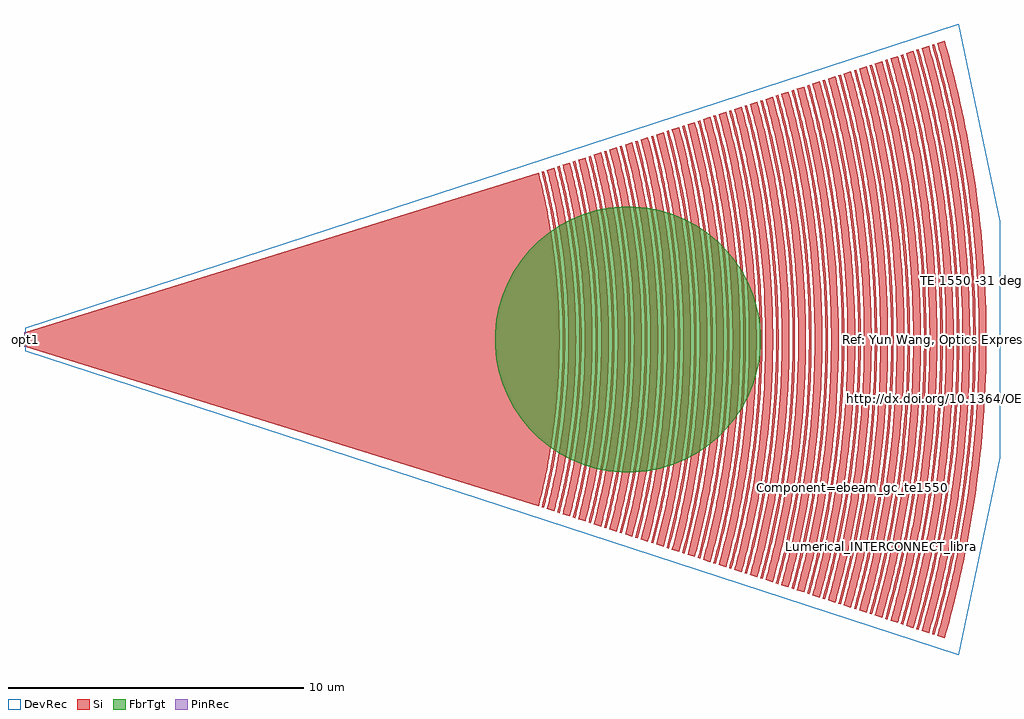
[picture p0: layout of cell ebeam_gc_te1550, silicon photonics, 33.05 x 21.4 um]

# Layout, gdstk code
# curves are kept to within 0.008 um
import gdstk
lib = gdstk.Library(unit=1e-6, precision=1e-09)
def R(c, l, rs):  # rectangles x0, y0, x1, y1
    for r in rs: c.add(gdstk.rectangle(r[:2], r[2:], *l))
def P(c, l, *ps):  # polygons
    for p in ps: c.add(gdstk.Polygon(p, *l))
Si = (1, 0)
PinRec = (1, 10)
DevRec = (68, 0)
FbrTgt = (81, 0)

ebeam_gc_te1550 = lib.new_cell('ebeam_gc_te1550')
R(ebeam_gc_te1550, Si, [(-0.001,-0.001,0.001,0.001)])
P(ebeam_gc_te1550, Si, [(17.584,-5.592),(17.743,-4.914),(17.902,-4.12),(18.016,-3.437),(18.109,-2.752),(18.176,-2.122),(18.233,-1.377),(18.264,-0.689),(18.274,0.114),(18.196,0.114),(18.189,-0.572),(18.165,-1.2),(18.109,-1.999),(18.032,-2.74),(17.922,-3.536),(17.784,-4.329),(17.643,-5.006),(17.481,-5.68),(17.556,-5.704)],
  [(18.274,0.115),(18.256,0.918),(18.222,1.549),(18.165,2.237),(18.095,2.866),(18.016,3.437),(17.881,4.233),(17.743,4.914),(17.556,5.704),(17.481,5.68),(17.643,5.006),(17.784,4.329),(17.922,3.536),(18.018,2.854),(18.104,2.056),(18.148,1.486),(18.186,0.686),(18.196,0.114)],
  [(17.921,-5.761),(18.073,-5.128),(18.207,-4.492),(18.342,-3.738),(18.452,-2.982),(18.537,-2.224),(18.601,-1.405),(18.636,-0.586),(18.643,0.116),(18.383,0.116),(18.373,-0.693),(18.338,-1.443),(18.279,-2.193),(18.188,-2.998),(18.068,-3.801),(17.932,-4.544),(17.81,-5.114),(17.659,-5.738),(17.906,-5.818)],
  [(18.643,0.117),(18.631,0.761),(18.601,1.405),(18.537,2.224),(18.452,2.982),(18.342,3.738),(18.207,4.492),(18.047,5.243),(17.906,5.818),(17.659,5.738),(17.81,5.114),(17.932,4.544),(18.068,3.801),(18.188,2.998),(18.279,2.193),(18.338,1.443),(18.373,0.693),(18.383,0.116)],
  [(18.114,-5.76),(18.266,-5.121),(18.4,-4.479),(18.544,-3.658),(18.644,-2.953),(18.739,-2.069),(18.791,-1.36),(18.823,-0.592),(18.83,0.118),(18.752,0.118),(18.745,-0.589),(18.706,-1.472),(18.651,-2.178),(18.567,-2.941),(18.458,-3.702),(18.324,-4.46),(18.165,-5.215),(18.01,-5.852),(18.084,-5.876)],
  [(18.829,0.177),(18.811,0.946),(18.772,1.656),(18.717,2.305),(18.629,3.071),(18.525,3.776),(18.4,4.479),(18.24,5.237),(18.084,5.876),(18.01,5.852),(18.165,5.215),(18.324,4.46),(18.458,3.702),(18.552,3.058),(18.651,2.178),(18.706,1.472),(18.745,0.589),(18.752,0.118),(18.83,0.118)],
  [(18.45,-5.931),(18.608,-5.279),(18.77,-4.506),(18.906,-3.73),(19.016,-2.951),(19.095,-2.23),(19.159,-1.387),(19.19,-0.663),(19.199,0.119),(18.939,0.119),(18.93,-0.654),(18.896,-1.427),(18.842,-2.14),(18.759,-2.911),(18.651,-3.679),(18.517,-4.445),(18.358,-5.209),(18.188,-5.91),(18.435,-5.99)],
  [(19.199,0.121),(19.182,0.905),(19.135,1.748),(19.071,2.47),(19.001,3.071),(18.906,3.73),(18.77,4.506),(18.608,5.279),(18.435,5.99),(18.188,5.91),(18.358,5.209),(18.517,4.445),(18.651,3.679),(18.744,3.029),(18.831,2.259),(18.896,1.427),(18.93,0.654),(18.939,0.119)],
  [(18.629,-5.988),(18.815,-5.211),(18.963,-4.49),(19.099,-3.705),(19.201,-2.979),(19.286,-2.191),(19.349,-1.339),(19.377,-0.67),(19.386,0.121),(19.308,0.121),(19.299,-0.667),(19.264,-1.455),(19.203,-2.242),(19.131,-2.907),(19.013,-3.751),(18.876,-4.532),(18.713,-5.309),(18.539,-6.024),(18.613,-6.048)],
  [(19.386,0.122),(19.369,0.913),(19.338,1.522),(19.269,2.373),(19.201,2.979),(19.099,3.705),(18.963,4.49),(18.815,5.211),(18.613,6.048),(18.539,6.024),(18.713,5.309),(18.876,4.532),(19.013,3.751),(19.116,3.028),(19.203,2.242),(19.264,1.455),(19.291,0.91),(19.308,0.121)],
  [(18.98,-6.101),(19.184,-5.248),(19.334,-4.513),(19.461,-3.776),(19.573,-2.974),(19.653,-2.232),(19.717,-1.365),(19.749,-0.559),(19.755,0.122),(19.495,0.122),(19.486,-0.674),(19.454,-1.408),(19.389,-2.264),(19.301,-3.057),(19.206,-3.726),(19.046,-4.636),(18.879,-5.421),(18.717,-6.081),(18.964,-6.162)],
  [(19.755,0.124),(19.735,0.993),(19.689,1.799),(19.629,2.48),(19.533,3.283),(19.411,4.083),(19.262,4.881),(19.129,5.492),(18.964,6.162),(18.717,6.081),(18.879,5.421),(19.046,4.636),(19.206,3.726),(19.301,3.057),(19.371,2.447),(19.43,1.775),(19.48,0.857),(19.495,0.122)],
  [(19.158,-6.158),(19.337,-5.421),(19.516,-4.556),(19.635,-3.874),(19.758,-3.002),(19.833,-2.316),(19.9,-1.44),(19.934,-0.626),(19.942,0.125),(19.864,0.125),(19.853,-0.749),(19.822,-1.435),(19.761,-2.244),(19.681,-2.99),(19.568,-3.797),(19.44,-4.538),(19.289,-5.277),(19.068,-6.195),(19.142,-6.22)],
  [(19.941,0.188),(19.924,0.94),(19.884,1.691),(19.808,2.566),(19.726,3.251),(19.625,3.936),(19.48,4.742),(19.337,5.421),(19.142,6.22),(19.068,6.195),(19.205,5.645),(19.392,4.785),(19.528,4.044),(19.649,3.239),(19.737,2.493),(19.802,1.746),(19.844,0.998),(19.864,0.125),(19.942,0.125)],
  [(19.509,-6.271),(19.678,-5.583),(19.839,-4.829),(19.997,-3.945),(20.123,-3.058),(20.211,-2.231),(20.268,-1.467),(20.303,-0.638),(20.311,0.126),(20.051,0.126),(20.043,-0.63),(20.005,-1.511),(19.947,-2.266),(19.866,-3.019),(19.742,-3.895),(19.622,-4.581),(19.483,-5.264),(19.246,-6.253),(19.493,-6.334)],
  [(20.311,0.128),(20.293,0.957),(20.256,1.658),(20.187,2.486),(20.107,3.185),(19.997,3.945),(19.839,4.829),(19.678,5.583),(19.493,6.334),(19.246,6.253),(19.399,5.636),(19.574,4.829),(19.742,3.895),(19.842,3.207),(19.929,2.454),(19.997,1.637),(20.033,0.945),(20.051,0.126)],
  [(19.703,-6.265),(19.942,-5.254),(20.093,-4.491),(20.22,-3.726),(20.323,-2.958),(20.397,-2.252),(20.458,-1.416),(20.49,-0.644),(20.498,0.128),(20.42,0.128),(20.412,-0.641),(20.384,-1.347),(20.325,-2.179),(20.246,-2.946),(20.153,-3.648),(20.005,-4.538),(19.797,-5.55),(19.597,-6.367),(19.671,-6.391)],
  [(20.498,0.129),(20.482,0.901),(20.438,1.738),(20.379,2.444),(20.283,3.278),(20.149,4.173),(20.008,4.937),(19.843,5.697),(19.671,6.391),(19.597,6.367),(19.797,5.55),(19.957,4.791),(20.104,3.966),(20.206,3.265),(20.295,2.499),(20.369,1.603),(20.404,0.898),(20.42,0.128)],
  [(20.038,-6.441),(20.242,-5.606),(20.392,-4.896),(20.532,-4.118),(20.656,-3.272),(20.745,-2.488),(20.81,-1.704),(20.853,-0.852),(20.867,0.129),(20.607,0.129),(20.599,-0.647),(20.567,-1.424),(20.511,-2.199),(20.399,-3.231),(20.277,-4.066),(20.139,-4.835),(19.948,-5.727),(19.774,-6.425),(20.022,-6.505)],
  [(20.867,0.131),(20.853,0.852),(20.81,1.704),(20.745,2.488),(20.656,3.272),(20.532,4.118),(20.392,4.896),(20.242,5.606),(20.022,6.505),(19.774,6.425),(19.948,5.727),(20.139,4.835),(20.277,4.066),(20.382,3.36),(20.474,2.586),(20.542,1.812),(20.586,1.036),(20.607,0.129)],
  [(20.216,-6.499),(20.437,-5.591),(20.599,-4.809),(20.726,-4.089),(20.849,-3.235),(20.931,-2.511),(21.001,-1.653),(21.044,-0.728),(21.054,0.132),(20.976,0.132),(20.966,-0.725),(20.923,-1.647),(20.86,-2.436),(20.772,-3.223),(20.649,-4.074),(20.498,-4.921),(20.347,-5.635),(20.125,-6.539),(20.199,-6.563)],
  [(21.053,0.198),(21.035,0.992),(20.992,1.785),(20.931,2.511),(20.832,3.367),(20.726,4.089),(20.599,4.809),(20.437,5.591),(20.199,6.563),(20.125,6.539),(20.347,5.635),(20.498,4.921),(20.628,4.204),(20.755,3.354),(20.86,2.436),(20.923,1.647),(20.962,0.857),(20.976,0.132),(21.054,0.132)],
  [(20.568,-6.612),(20.793,-5.688),(20.971,-4.826),(21.109,-4.027),(21.222,-3.225),(21.304,-2.488),(21.373,-1.615),(21.416,-0.606),(21.423,0.133),(21.163,0.133),(21.151,-0.798),(21.105,-1.728),(21.052,-2.391),(20.957,-3.252),(20.822,-4.176),(20.705,-4.833),(20.542,-5.62),(20.303,-6.597),(20.55,-6.677)],
  [(21.423,0.135),(21.401,1.077),(21.355,1.883),(21.304,2.488),(21.205,3.359),(21.066,4.293),(20.906,5.158),(20.732,5.953),(20.55,6.677),(20.303,6.597),(20.542,5.62),(20.705,4.833),(20.822,4.176),(20.957,3.252),(21.052,2.391),(21.105,1.728),(21.144,0.997),(21.163,0.133)],
  [(20.746,-6.669),(20.943,-5.871),(21.101,-5.136),(21.249,-4.331),(21.39,-3.388),(21.483,-2.577),(21.555,-1.696),(21.593,-0.95),(21.61,0.135),(21.532,0.135),(21.525,-0.609),(21.486,-1.555),(21.412,-2.5),(21.33,-3.241),(21.195,-4.181),(21.025,-5.118),(20.868,-5.85),(20.654,-6.711),(20.728,-6.735)],
  [(21.61,0.136),(21.593,0.95),(21.546,1.832),(21.483,2.577),(21.372,3.523),(21.249,4.331),(21.101,5.136),(20.912,6.004),(20.728,6.735),(20.654,6.711),(20.868,5.85),(21.025,5.118),(21.184,4.248),(21.304,3.443),(21.392,2.702),(21.473,1.758),(21.515,0.947),(21.532,0.135)],
  [(21.079,-6.849),(21.25,-6.174),(21.432,-5.359),(21.599,-4.473),(21.736,-3.583),(21.856,-2.552),(21.923,-1.725),(21.964,-0.898),(21.979,-0.138),(21.964,0.898),(21.923,1.725),(21.856,2.552),(21.772,3.308),(21.622,4.336),(21.473,5.155),(21.298,5.971),(21.079,6.849),(20.832,6.769),(21.048,5.9),(21.207,5.162),(21.356,4.353),(21.47,3.608),(21.598,2.522),(21.664,1.705),(21.702,0.955),(21.719,0.136),(21.702,-0.955),(21.664,-1.705),(21.598,-2.522),(21.515,-3.269),(21.356,-4.353),(21.207,-5.162),(21.048,-5.9),(20.832,-6.769)],
  [(21.311,-6.703),(21.525,-5.816),(21.682,-5.061),(21.817,-4.304),(21.957,-3.336),(22.042,-2.574),(22.114,-1.67),(22.159,-0.627),(22.166,0.139),(22.088,0.139),(22.073,-0.902),(22.036,-1.665),(21.971,-2.495),(21.871,-3.394),(21.729,-4.358),(21.579,-5.181),(21.419,-5.932),(21.183,-6.883),(21.257,-6.907)],
  [(22.165,0.209),(22.146,1.044),(22.105,1.81),(22.042,2.574),(21.93,3.544),(21.817,4.304),(21.655,5.199),(21.494,5.953),(21.257,6.907),(21.183,6.883),(21.419,5.932),(21.579,5.181),(21.729,4.358),(21.853,3.532),(21.971,2.495),(22.027,1.803),(22.068,1.041),(22.088,0.139),(22.166,0.139)],
  [(21.626,-6.952),(21.865,-5.982),(22.041,-5.145),(22.179,-4.375),(22.294,-3.603),(22.415,-2.546),(22.482,-1.698),(22.522,-0.849),(22.535,0.14),(22.275,0.14),(22.268,-0.63),(22.227,-1.609),(22.163,-2.447),(22.073,-3.283),(21.957,-4.117),(21.788,-5.086),(21.599,-5.982),(21.361,-6.941),(21.608,-7.021)],
  [(22.535,0.142),(22.522,0.849),(22.482,1.698),(22.415,2.546),(22.294,3.603),(22.179,4.375),(21.985,5.425),(21.801,6.259),(21.608,7.021),(21.361,6.941),(21.599,5.982),(21.761,5.224),(21.889,4.533),(22.028,3.631),(22.129,2.795),(22.218,1.749),(22.26,0.91),(22.275,0.14)],
  [(21.804,-7.009),(22.03,-6.101),(22.195,-5.329),(22.374,-4.341),(22.488,-3.562),(22.58,-2.78),(22.659,-1.855),(22.711,-0.785),(22.722,0.142),(22.644,0.142),(22.631,-0.854),(22.586,-1.778),(22.495,-2.842),(22.411,-3.55),(22.274,-4.467),(22.105,-5.381),(21.922,-6.22),(21.712,-7.055),(21.786,-7.079)],
  [(22.722,0.143),(22.704,0.999),(22.649,1.997),(22.565,2.923),(22.469,3.704),(22.302,4.765),(22.167,5.469),(21.964,6.381),(21.786,7.079),(21.712,7.055),(21.889,6.359),(22.077,5.521),(22.238,4.678),(22.392,3.691),(22.495,2.842),(22.566,2.062),(22.626,0.996),(22.644,0.142)],
  [(22.175,-7.051),(22.418,-6.057),(22.61,-5.129),(22.759,-4.267),(22.862,-3.547),(22.981,-2.464),(23.045,-1.595),(23.085,-0.58),(23.091,0.143),(22.831,0.143),(22.82,-0.789),(22.777,-1.721),(22.716,-2.508),(22.596,-3.579),(22.481,-4.362),(22.287,-5.425),(22.102,-6.271),(21.89,-7.112),(22.137,-7.193)],
  [(23.091,0.145),(23.067,1.16),(23.011,2.102),(22.946,2.826),(22.843,3.692),(22.7,4.627),(22.54,5.486),(22.369,6.271),(22.137,7.193),(21.89,7.112),(22.102,6.271),(22.287,5.425),(22.481,4.362),(22.596,3.579),(22.716,2.508),(22.777,1.721),(22.82,0.789),(22.831,0.143)],
  [(22.372,-7.037),(22.582,-6.178),(22.736,-5.458),(22.895,-4.592),(23.047,-3.576),(23.139,-2.776),(23.218,-1.827),(23.262,-0.951),(23.278,0.146),(23.2,0.146),(23.184,-0.947),(23.145,-1.748),(23.076,-2.621),(22.979,-3.492),(22.843,-4.432),(22.646,-5.512),(22.457,-6.372),(22.24,-7.226),(22.315,-7.25)],
  [(23.276,0.293),(23.247,1.316),(23.197,2.119),(23.1,3.14),(22.997,3.939),(22.871,4.736),(22.707,5.603),(22.515,6.465),(22.315,7.25),(22.24,7.226),(22.457,6.372),(22.646,5.512),(22.807,4.648),(22.96,3.637),(23.069,2.694),(23.125,2.039),(23.184,0.947),(23.2,0.146),(23.278,0.146)],
  [(22.704,-7.22),(22.938,-6.275),(23.124,-5.398),(23.282,-4.517),(23.421,-3.559),(23.513,-2.745),(23.586,-1.856),(23.633,-0.891),(23.647,0.147),(23.387,0.147),(23.371,-0.955),(23.336,-1.689),(23.24,-2.862),(23.145,-3.666),(22.99,-4.686),(22.842,-5.484),(22.654,-6.351),(22.418,-7.284),(22.666,-7.364)],
  [(23.647,0.149),(23.628,1.04),(23.581,1.93),(23.498,2.893),(23.392,3.78),(23.27,4.591),(23.095,5.545),(22.887,6.494),(22.666,7.364),(22.418,7.284),(22.654,6.351),(22.842,5.484),(22.978,4.758),(23.145,3.666),(23.24,2.862),(23.311,2.056),(23.371,0.955),(23.387,0.147)],
  [(22.883,-7.276),(23.135,-6.251),(23.306,-5.441),(23.441,-4.701),(23.606,-3.587),(23.713,-2.618),(23.782,-1.721),(23.82,-0.898),(23.834,0.149),(23.756,0.149),(23.742,-0.895),(23.704,-1.716),(23.642,-2.535),(23.538,-3.501),(23.389,-4.538),(23.201,-5.57),(22.992,-6.523),(22.769,-7.398),(22.843,-7.422)],
  [(23.834,0.15),(23.815,1.048),(23.762,2.02),(23.691,2.842),(23.556,3.959),(23.441,4.701),(23.262,5.662),(23.067,6.545),(22.843,7.422),(22.769,7.398),(22.957,6.67),(23.171,5.717),(23.352,4.759),(23.479,3.946),(23.582,3.13),(23.679,2.088),(23.737,1.045),(23.756,0.149)],
  [(23.254,-7.314),(23.474,-6.422),(23.68,-5.45),(23.84,-4.548),(23.961,-3.718),(24.065,-2.81),(24.15,-1.748),(24.191,-0.836),(24.203,0.15),(23.943,0.15),(23.929,-0.903),(23.886,-1.804),(23.807,-2.78),(23.704,-3.678),(23.56,-4.648),(23.383,-5.614),(23.172,-6.574),(22.947,-7.456),(23.194,-7.536)],
  [(24.203,0.152),(24.186,0.988),(24.135,1.976),(24.065,2.81),(23.951,3.793),(23.79,4.849),(23.605,5.824),(23.404,6.72),(23.194,7.536),(22.947,7.456),(23.172,6.574),(23.368,5.688),(23.535,4.797),(23.684,3.827),(23.807,2.78),(23.876,1.955),(23.921,1.128),(23.943,0.15)],
  [(23.392,-7.519),(23.672,-6.396),(23.877,-5.416),(24.011,-4.659),(24.165,-3.594),(24.258,-2.755),(24.341,-1.685),(24.378,-0.843),(24.39,0.153),(24.312,0.153),(24.3,-0.84),(24.263,-1.68),(24.195,-2.594),(24.088,-3.583),(23.971,-4.417),(23.801,-5.399),(23.562,-6.525),(23.298,-7.57),(23.372,-7.594)],
  [(24.385,0.536),(24.361,1.302),(24.286,2.45),(24.202,3.289),(24.115,3.975),(23.96,4.962),(23.802,5.793),(23.602,6.696),(23.372,7.594),(23.298,7.57),(23.491,6.825),(23.711,5.85),(23.87,5.022),(24.038,3.962),(24.158,2.975),(24.238,2.061),(24.295,0.993),(24.312,0.153),(24.39,0.153)],
  [(23.744,-7.632),(23.993,-6.645),(24.207,-5.651),(24.348,-4.883),(24.5,-3.88),(24.625,-2.797),(24.709,-1.71),(24.749,-0.778),(24.759,0.154),(24.499,0.154),(24.487,-0.847),(24.43,-2),(24.359,-2.844),(24.233,-3.916),(24.093,-4.832),(23.908,-5.819),(23.724,-6.651),(23.476,-7.628),(23.723,-7.708)],
  [(24.759,0.156),(24.736,1.167),(24.678,2.176),(24.585,3.184),(24.479,4.035),(24.348,4.883),(24.145,5.957),(23.957,6.797),(23.723,7.708),(23.476,7.628),(23.724,6.651),(23.908,5.819),(24.093,4.832),(24.233,3.916),(24.359,2.844),(24.43,2),(24.482,1),(24.499,0.154)],
  [(23.922,-7.69),(24.137,-6.848),(24.358,-5.848),(24.531,-4.92),(24.695,-3.832),(24.803,-2.896),(24.891,-1.802),(24.931,-0.94),(24.946,0.156),(24.868,0.156),(24.858,-0.781),(24.818,-1.718),(24.733,-2.809),(24.618,-3.82),(24.48,-4.75),(24.282,-5.83),(24.08,-6.75),(23.827,-7.742),(23.901,-7.766)],
  [(24.946,0.157),(24.916,1.332),(24.87,2.115),(24.779,3.13),(24.674,3.987),(24.518,4.997),(24.358,5.848),(24.137,6.848),(23.901,7.766),(23.827,7.742),(24.08,6.75),(24.282,5.83),(24.428,5.059),(24.597,3.975),(24.693,3.198),(24.792,2.108),(24.845,1.172),(24.868,0.156)],
  [(24.273,-7.803),(24.547,-6.715),(24.764,-5.699),(24.945,-4.677),(25.07,-3.809),(25.185,-2.78),(25.259,-1.828),(25.3,-0.954),(25.315,0.157),(25.055,0.157),(25.05,-0.551),(25.009,-1.652),(24.919,-2.83),(24.803,-3.848),(24.638,-4.941),(24.464,-5.873),(24.26,-6.801),(24.005,-7.8),(24.252,-7.88)],
  [(25.315,0.159),(25.288,1.272),(25.232,2.225),(25.145,3.177),(25.049,3.967),(24.893,4.992),(24.717,5.934),(24.473,7.027),(24.252,7.88),(24.005,7.8),(24.26,6.801),(24.464,5.873),(24.638,4.941),(24.782,4.005),(24.887,3.144),(24.973,2.202),(25.025,1.338),(25.055,0.157)],
  [(24.514,-7.626),(24.727,-6.765),(24.946,-5.741),(25.116,-4.791),(25.255,-3.837),(25.378,-2.721),(25.455,-1.682),(25.489,-0.881),(25.502,0.16),(25.424,0.16),(25.409,-0.958),(25.377,-1.677),(25.293,-2.792),(25.178,-3.826),(25,-5.014),(24.839,-5.881),(24.634,-6.822),(24.356,-7.914),(24.43,-7.938)],
  [(25.497,0.561),(25.471,1.362),(25.412,2.322),(25.322,3.28),(25.212,4.156),(25.049,5.187),(24.866,6.135),(24.709,6.843),(24.43,7.938),(24.356,7.914),(24.596,6.979),(24.774,6.195),(25,5.014),(25.124,4.222),(25.253,3.19),(25.352,2.075),(25.397,1.278),(25.424,0.16),(25.502,0.16)],
  [(24.802,-7.973),(25.083,-6.862),(25.274,-5.984),(25.465,-4.941),(25.609,-3.974),(25.722,-3.003),(25.803,-2.031),(25.853,-1.056),(25.871,0.161),(25.611,0.161),(25.598,-0.885),(25.544,-2.01),(25.479,-2.813),(25.352,-3.934),(25.21,-4.891),(25.021,-5.924),(24.814,-6.872),(24.533,-7.971),(24.781,-8.052)],
  [(25.871,0.163),(25.853,1.056),(25.803,2.031),(25.722,3.003),(25.576,4.216),(25.424,5.182),(25.241,6.144),(24.988,7.26),(24.781,8.052),(24.533,7.971),(24.738,7.187),(24.972,6.161),(25.127,5.368),(25.308,4.253),(25.447,3.133),(25.544,2.01),(25.593,1.046),(25.611,0.161)],
  [(24.98,-8.03),(25.245,-6.991),(25.472,-5.946),(25.662,-4.895),(25.794,-4.002),(25.891,-3.188),(25.995,-1.964),(26.045,-0.9),(26.058,0.163),(25.98,0.163),(25.967,-0.898),(25.917,-1.958),(25.822,-3.097),(25.717,-3.99),(25.545,-5.123),(25.38,-6.009),(25.15,-7.051),(24.884,-8.085),(24.959,-8.11)],
  [(26.058,0.164),(26.03,1.31),(25.984,2.127),(25.891,3.188),(25.772,4.165),(25.635,5.057),(25.423,6.188),(25.187,7.232),(24.959,8.11),(24.884,8.085),(25.15,7.051),(25.38,6.009),(25.545,5.123),(25.695,4.152),(25.822,3.097),(25.906,2.121),(25.952,1.306),(25.98,0.163)],
  [(25.354,-8.062),(25.581,-7.171),(25.815,-6.112),(26.011,-5.047),(26.18,-3.894),(26.298,-2.82),(26.368,-1.909),(26.416,-0.83),(26.427,0.164),(26.167,0.164),(26.154,-0.904),(26.123,-1.644),(26.054,-2.628),(25.923,-3.856),(25.769,-4.916),(25.562,-6.052),(25.35,-7.021),(25.062,-8.143),(25.31,-8.224)],
  [(26.427,0.166),(26.402,1.245),(26.357,2.074),(26.274,3.068),(26.136,4.224),(26.011,5.047),(25.815,6.112),(25.581,7.171),(25.31,8.224),(25.062,8.143),(25.292,7.262),(25.512,6.295),(25.7,5.322),(25.868,4.264),(26.016,3.038),(26.098,2.054),(26.139,1.315),(26.167,0.164)],
  [(25.51,-8.2),(25.761,-7.222),(25.997,-6.155),(26.208,-4.999),(26.365,-3.921),(26.484,-2.84),(26.549,-2.006),(26.603,-0.836),(26.614,0.167),(26.536,0.167),(26.525,-0.834),(26.482,-1.833),(26.406,-2.831),(26.288,-3.91),(26.118,-5.067),(25.921,-6.137),(25.686,-7.201),(25.413,-8.257),(25.487,-8.281)],
  [(26.61,0.502),(26.589,1.254),(26.532,2.256),(26.451,3.173),(26.321,4.254),(26.152,5.33),(25.946,6.402),(25.761,7.222),(25.487,8.281),(25.413,8.257),(25.686,7.201),(25.921,6.137),(26.076,5.315),(26.244,4.241),(26.374,3.164),(26.466,2.083),(26.511,1.25),(26.536,0.167),(26.614,0.167)],
  [(25.884,-8.231),(26.156,-7.155),(26.356,-6.24),(26.557,-5.152),(26.73,-3.976),(26.843,-2.963),(26.917,-2.033),(26.964,-1.102),(26.983,0.168),(26.723,0.168),(26.707,-1.007),(26.658,-2.014),(26.568,-3.102),(26.44,-4.188),(26.259,-5.352),(26.086,-6.263),(25.866,-7.251),(25.591,-8.315),(25.838,-8.395)],
  [(26.983,0.17),(26.954,1.356),(26.887,2.456),(26.8,3.386),(26.685,4.312),(26.514,5.404),(26.339,6.323),(26.076,7.487),(25.838,8.395),(25.591,8.315),(25.866,7.251),(26.086,6.263),(26.259,5.352),(26.44,4.188),(26.568,3.102),(26.658,2.014),(26.707,1.007),(26.723,0.168)],
  [(26.062,-8.287),(26.336,-7.205),(26.555,-6.199),(26.726,-5.272),(26.893,-4.173),(27.012,-3.154),(27.098,-2.133),(27.156,-0.939),(27.17,0.085),(27.092,0.085),(27.078,-0.936),(27.026,-2.042),(26.943,-3.06),(26.827,-4.076),(26.664,-5.173),(26.445,-6.349),(26.181,-7.517),(25.942,-8.429),(26.016,-8.453)],
  [(27.169,0.171),(27.144,1.28),(27.086,2.303),(26.976,3.494),(26.858,4.427),(26.697,5.441),(26.503,6.451),(26.256,7.539),(26.016,8.453),(25.942,8.429),(26.181,7.517),(26.445,6.349),(26.606,5.51),(26.781,4.414),(26.908,3.399),(27.002,2.381),(27.066,1.276),(27.092,0.085),(27.17,0.085)],
  [(26.459,-8.231),(26.712,-7.217),(26.931,-6.198),(27.117,-5.173),(27.269,-4.143),(27.387,-3.111),(27.466,-2.162),(27.525,-0.952),(27.539,0.086),(27.279,0.086),(27.265,-0.943),(27.218,-1.97),(27.137,-2.996),(26.989,-4.275),(26.833,-5.294),(26.644,-6.308),(26.381,-7.485),(26.12,-8.487),(26.367,-8.567)],
  [(27.539,0.087),(27.513,1.297),(27.466,2.162),(27.387,3.111),(27.246,4.315),(27.088,5.344),(26.897,6.368),(26.652,7.471),(26.367,8.567),(26.12,8.487),(26.381,7.485),(26.644,6.308),(26.833,5.294),(26.989,4.275),(27.137,2.996),(27.218,1.97),(27.265,0.943),(27.279,0.086)],
  [(26.568,-8.54),(26.832,-7.522),(27.079,-6.411),(27.286,-5.294),(27.442,-4.258),(27.573,-3.132),(27.658,-2.089),(27.712,-0.958),(27.726,0.087),(27.648,0.087),(27.634,-0.955),(27.586,-1.997),(27.487,-3.209),(27.365,-4.246),(27.195,-5.365),(27.003,-6.393),(26.777,-7.416),(26.471,-8.601),(26.545,-8.625)],
  [(27.725,0.174),(27.703,1.219),(27.64,2.35),(27.537,3.479),(27.394,4.604),(27.242,5.552),(27.007,6.754),(26.832,7.522),(26.545,8.625),(26.471,8.601),(26.736,7.586),(26.931,6.735),(27.135,5.708),(27.317,4.591),(27.469,3.382),(27.562,2.344),(27.625,1.216),(27.648,0.087),(27.726,0.087)],
  [(26.92,-8.653),(27.208,-7.535),(27.438,-6.496),(27.663,-5.277),(27.807,-4.315),(27.948,-3.085),(28.026,-2.117),(28.078,-1.059),(28.095,0.087),(27.835,0.087),(27.821,-0.962),(27.761,-2.185),(27.681,-3.144),(27.55,-4.275),(27.393,-5.315),(27.185,-6.436),(26.937,-7.551),(26.649,-8.659),(26.896,-8.739)],
  [(28.095,0.088),(28.075,1.147),(28.014,2.293),(27.903,3.525),(27.783,4.49),(27.588,5.713),(27.402,6.67),(27.145,7.794),(26.896,8.739),(26.649,8.659),(26.937,7.551),(27.185,6.436),(27.393,5.315),(27.55,4.275),(27.681,3.144),(27.761,2.185),(27.812,1.224),(27.835,0.087)],
  [(27.098,-8.711),(27.388,-7.585),(27.62,-6.539),(27.832,-5.4),(28.015,-4.167),(28.134,-3.106),(28.218,-2.042),(28.265,-1.066),(28.282,0.089),(28.204,0.089),(28.187,-1.063),(28.129,-2.214),(28.048,-3.186),(27.926,-4.243),(27.77,-5.297),(27.544,-6.521),(27.292,-7.651),(27,-8.773),(27.074,-8.797)],
  [(28.281,0.178),(28.255,1.332),(28.194,2.397),(28.098,3.46),(27.955,4.608),(27.802,5.576),(27.602,6.627),(27.346,7.759),(27.074,8.797),(27,8.773),(27.271,7.737),(27.508,6.695),(27.71,5.648),(27.878,4.595),(28.03,3.362),(28.129,2.214),(28.184,1.152),(28.204,0.089),(28.282,0.089)],
  [(27.449,-8.823),(27.701,-7.859),(27.979,-6.624),(28.164,-5.648),(28.344,-4.489),(28.474,-3.415),(28.568,-2.339),(28.627,-1.26),(28.651,0.089),(28.391,0.089),(28.364,-1.338),(28.309,-2.317),(28.206,-3.473),(28.075,-4.537),(27.909,-5.597),(27.708,-6.652),(27.451,-7.788),(27.177,-8.83),(27.425,-8.911)],
  [(28.651,0.09),(28.627,1.26),(28.568,2.339),(28.474,3.415),(28.344,4.489),(28.164,5.648),(27.979,6.624),(27.701,7.859),(27.425,8.911),(27.177,8.83),(27.451,7.788),(27.708,6.652),(27.909,5.597),(28.075,4.537),(28.206,3.473),(28.309,2.317),(28.364,1.338),(28.391,0.089)],
  [(27.723,-8.529),(27.966,-7.556),(28.197,-6.489),(28.393,-5.416),(28.565,-4.249),(28.678,-3.257),(28.767,-2.173),(28.826,-0.906),(28.838,0.09),(28.76,0.09),(28.748,-0.903),(28.695,-2.077),(28.609,-3.158),(28.476,-4.327),(28.316,-5.402),(28.085,-6.649),(27.806,-7.889),(27.528,-8.944),(27.603,-8.969)],
  [(28.838,0.091),(28.814,1.268),(28.761,2.264),(28.678,3.257),(28.529,4.518),(28.347,5.685),(28.124,6.845),(27.881,7.91),(27.603,8.969),(27.528,8.944),(27.806,7.889),(28.048,6.827),(28.255,5.759),(28.452,4.506),(28.582,3.428),(28.677,2.348),(28.736,1.265),(28.76,0.09)],
  [(28.003,-8.905),(28.258,-7.922),(28.52,-6.752),(28.74,-5.576),(28.918,-4.394),(29.026,-3.482),(29.135,-2.201),(29.192,-1.009),(29.207,0.091),(28.947,0.091),(28.935,-0.909),(28.887,-2),(28.795,-3.179),(28.649,-4.445),(28.485,-5.527),(28.23,-6.871),(27.986,-7.94),(27.706,-9.002),(27.953,-9.083)],
  [(29.207,0.092),(29.186,1.193),(29.135,2.201),(29.026,3.482),(28.893,4.576),(28.709,5.757),(28.52,6.752),(28.258,7.922),(27.953,9.083),(27.706,9.002),(27.986,7.94),(28.23,6.871),(28.454,5.706),(28.624,4.626),(28.758,3.541),(28.863,2.363),(28.923,1.273),(28.947,0.091)],
  [(28.156,-9.051),(28.438,-7.972),(28.702,-6.795),(28.908,-5.703),(29.078,-4.605),(29.221,-3.412),(29.315,-2.307),(29.373,-1.2),(29.394,0.092),(29.316,0.092),(29.295,-1.197),(29.231,-2.393),(29.134,-3.495),(29.001,-4.593),(28.816,-5.779),(28.626,-6.777),(28.363,-7.951),(28.057,-9.116),(28.131,-9.14)],
  [(29.393,0.185),(29.373,1.2),(29.302,2.491),(29.202,3.596),(29.078,4.605),(28.86,5.977),(28.645,7.068),(28.416,8.062),(28.131,9.14),(28.057,9.116),(28.363,7.951),(28.626,6.777),(28.816,5.779),(29.001,4.593),(29.134,3.495),(29.231,2.393),(29.295,1.197),(29.316,0.092),(29.394,0.092)],
  [(28.508,-9.164),(28.793,-8.072),(29.08,-6.788),(29.286,-5.682),(29.455,-4.57),(29.597,-3.362),(29.683,-2.336),(29.738,-1.309),(29.763,0.093),(29.503,0.093),(29.485,-1.112),(29.424,-2.316),(29.31,-3.609),(29.173,-4.714),(28.983,-5.907),(28.77,-7.003),(28.543,-8.001),(28.235,-9.174),(28.482,-9.254)],
  [(29.763,0.094),(29.738,1.309),(29.683,2.336),(29.578,3.548),(29.416,4.849),(29.238,5.959),(29.003,7.156),(28.771,8.163),(28.482,9.254),(28.235,9.174),(28.543,8.001),(28.77,7.003),(28.983,5.907),(29.173,4.714),(29.31,3.609),(29.424,2.316),(29.485,1.112),(29.503,0.093)],
  [(28.686,-9.221),(28.973,-8.122),(29.224,-7.016),(29.437,-5.904),(29.64,-4.599),(29.792,-3.289),(29.882,-2.163),(29.937,-0.941),(29.95,0.094),(29.872,0.094),(29.862,-0.845),(29.798,-2.251),(29.696,-3.467),(29.563,-4.587),(29.393,-5.703),(29.148,-6.998),(28.898,-8.101),(28.586,-9.288),(28.66,-9.312)],
  [(29.949,0.188),(29.925,1.317),(29.863,2.445),(29.733,3.851),(29.601,4.879),(29.421,5.996),(29.224,7.016),(28.928,8.306),(28.66,9.312),(28.586,9.288),(28.853,8.284),(29.109,7.182),(29.328,6.073),(29.524,4.866),(29.666,3.748),(29.785,2.438),(29.847,1.314),(29.872,0.094),(29.95,0.094)],
  [(29.063,-9.242),(29.351,-8.129),(29.621,-6.915),(29.863,-5.599),(30.017,-4.561),(30.149,-3.424),(30.25,-2.19),(30.306,-0.952),(30.319,0.094),(30.059,0.094),(30.034,-1.322),(29.978,-2.359),(29.872,-3.583),(29.735,-4.709),(29.528,-6.018),(29.33,-7.041),(29.078,-8.152),(28.764,-9.346),(29.011,-9.426)],
  [(30.319,0.095),(30.297,1.238),(30.237,2.38),(30.12,3.709),(29.965,4.939),(29.799,5.976),(29.563,7.196),(29.259,8.501),(29.011,9.426),(28.764,9.346),(29.078,8.152),(29.33,7.041),(29.528,6.018),(29.735,4.709),(29.872,3.583),(29.978,2.359),(30.034,1.322),(30.059,0.094)],
  [(29.267,-9.205),(29.554,-8.085),(29.784,-7.052),(29.999,-5.918),(30.202,-4.589),(30.335,-3.445),(30.43,-2.299),(30.484,-1.246),(30.506,0.096),(30.428,0.096),(30.406,-1.242),(30.346,-2.388),(30.248,-3.532),(30.125,-4.577),(29.97,-5.62),(29.838,-6.375),(29.708,-7.034),(29.456,-8.158),(29.115,-9.46),(29.189,-9.484)],
  [(30.505,0.192),(30.484,1.246),(30.41,2.586),(30.295,3.827),(30.163,4.874),(29.999,5.918),(29.784,7.052),(29.554,8.085),(29.189,9.484),(29.115,9.46),(29.364,8.531),(29.669,7.221),(29.906,5.997),(30.086,4.862),(30.248,3.532),(30.346,2.388),(30.406,1.242),(30.428,0.096),(30.506,0.096)],
  [(29.566,-9.504),(29.864,-8.372),(30.163,-7.041),(30.361,-5.99),(30.554,-4.741),(30.702,-3.487),(30.798,-2.327),(30.856,-1.164),(30.875,0.096),(30.615,0.096),(30.593,-1.25),(30.539,-2.307),(30.424,-3.649),(30.284,-4.796),(30.106,-5.939),(29.89,-7.077),(29.659,-8.114),(29.293,-9.518),(29.54,-9.598)],
  [(30.875,0.097),(30.856,1.164),(30.798,2.327),(30.702,3.487),(30.554,4.741),(30.361,5.99),(30.143,7.137),(29.864,8.372),(29.54,9.598),(29.293,9.518),(29.659,8.114),(29.89,7.077),(30.106,5.939),(30.284,4.796),(30.424,3.649),(30.539,2.307),(30.593,1.25),(30.615,0.096)],
  [(29.744,-9.561),(30.044,-8.422),(30.345,-7.084),(30.561,-5.929),(30.752,-4.673),(30.897,-3.411),(30.991,-2.243),(31.046,-1.073),(31.062,0.097),(30.984,0.097),(30.965,-1.168),(30.907,-2.335),(30.78,-3.79),(30.635,-4.951),(30.417,-6.299),(30.209,-7.353),(29.922,-8.591),(29.643,-9.632),(29.718,-9.656)],
  [(31.062,0.098),(31.036,1.366),(30.964,2.633),(30.857,3.8),(30.712,4.963),(30.493,6.315),(30.285,7.371),(29.997,8.613),(29.718,9.656),(29.643,9.632),(29.922,8.591),(30.209,7.353),(30.417,6.299),(30.635,4.951),(30.78,3.79),(30.907,2.335),(30.965,1.168),(30.984,0.097)],
  [(30.096,-9.674),(30.423,-8.425),(30.664,-7.362),(30.872,-6.292),(31.09,-4.924),(31.234,-3.747),(31.346,-2.467),(31.408,-1.283),(31.431,0.098),(31.171,0.098),(31.155,-1.077),(31.093,-2.349),(30.976,-3.716),(30.833,-4.883),(30.668,-5.95),(30.411,-7.301),(30.149,-8.452),(29.821,-9.69),(30.069,-9.77)],
  [(31.431,0.099),(31.408,1.283),(31.346,2.467),(31.234,3.747),(31.09,4.924),(30.872,6.292),(30.664,7.362),(30.423,8.425),(30.069,9.77),(29.821,9.69),(30.149,8.452),(30.411,7.301),(30.668,5.95),(30.833,4.883),(30.976,3.716),(31.093,2.349),(31.155,1.077),(31.171,0.098)],
  [(30.274,-9.731),(30.603,-8.475),(30.866,-7.308),(31.107,-6.035),(31.288,-4.855),(31.43,-3.67),(31.539,-2.382),(31.595,-1.291),(31.618,0.099),(31.54,0.099),(31.517,-1.288),(31.461,-2.377),(31.342,-3.759),(31.211,-4.843),(31.047,-5.922),(30.907,-6.705),(30.77,-7.387),(30.528,-8.455),(30.172,-9.804),(30.246,-9.828)],
  [(31.617,0.199),(31.595,1.291),(31.518,2.68),(31.409,3.868),(31.232,5.249),(31.038,6.428),(30.825,7.503),(30.531,8.766),(30.246,9.828),(30.172,9.804),(30.528,8.455),(30.77,7.387),(30.907,6.705),(31.047,5.922),(31.211,4.843),(31.342,3.759),(31.461,2.377),(31.517,1.288),(31.54,0.099),(31.618,0.099)],
  [(30.625,-9.844),(30.836,-9.064),(31.006,-8.378),(31.225,-7.393),(31.452,-6.205),(31.653,-4.911),(31.786,-3.813),(31.907,-2.41),(31.967,-1.206),(31.987,0.1),(31.727,0.1),(31.704,-1.296),(31.641,-2.49),(31.528,-3.782),(31.396,-4.872),(31.18,-6.253),(30.931,-7.529),(30.636,-8.796),(30.35,-9.861),(30.597,-9.942)],
  [(31.986,0.201),(31.96,1.407),(31.893,2.611),(31.786,3.813),(31.625,5.111),(31.452,6.205),(31.225,7.393),(30.886,8.868),(30.597,9.942),(30.35,9.861),(30.636,8.796),(30.931,7.529),(31.18,6.253),(31.396,4.872),(31.528,3.782),(31.641,2.49),(31.704,1.296),(31.727,0.1),(31.987,0.1)],
  [(30.803,-9.902),(31.139,-8.624),(31.428,-7.337),(31.686,-5.941),(31.851,-4.84),(32.012,-3.432),(32.1,-2.323),(32.154,-1.213),(32.174,0.101),(32.096,0.101),(32.076,-1.21),(32.009,-2.519),(31.915,-3.625),(31.774,-4.828),(31.593,-6.027),(31.352,-7.319),(31.18,-8.11),(31.015,-8.8),(30.701,-9.975),(30.775,-9.999)],
  [(32.173,0.202),(32.138,1.617),(32.072,2.727),(31.95,4.036),(31.795,5.241),(31.564,6.64),(31.344,7.734),(31.09,8.821),(30.775,9.999),(30.701,9.975),(31.015,8.8),(31.268,7.715),(31.524,6.425),(31.718,5.228),(31.894,3.826),(32.009,2.519),(32.069,1.411),(32.096,0.101),(32.174,0.101)],
  [(31.182,-9.916),(31.47,-8.822),(31.787,-7.42),(32.015,-6.211),(32.216,-4.895),(32.359,-3.675),(32.468,-2.35),(32.526,-1.124),(32.543,0.101),(32.283,0.101),(32.263,-1.217),(32.202,-2.433),(32.101,-3.646),(31.959,-4.856),(31.776,-6.062),(31.534,-7.361),(31.244,-8.653),(30.879,-10.033),(31.126,-10.114)],
  [(32.543,0.102),(32.519,1.329),(32.447,2.656),(32.338,3.879),(32.174,5.199),(31.962,6.514),(31.724,7.722),(31.47,8.822),(31.126,10.114),(30.879,10.033),(31.195,8.851),(31.471,7.66),(31.725,6.362),(31.917,5.158),(32.08,3.848),(32.188,2.635),(32.263,1.217),(32.283,0.101)],
  [(17.378,-5.646),(17.513,-5.088),(17.678,-4.303),(17.788,-3.684),(17.903,-2.893),(17.985,-2.157),(18.043,-1.42),(18.077,-0.682),(18.087,-0.114),(18.08,0.568),(18.05,1.306),(17.99,2.101),(17.924,2.724),(17.815,3.514),(17.678,4.303),(17.513,5.088),(17.378,5.646),(0,0.25),(0,-0.25)])
P(ebeam_gc_te1550, DevRec, [(31.6,-10.7),(33,-4),(33,4),(31.6,10.7),(0,0.4),(0,-0.4)])
P(ebeam_gc_te1550, FbrTgt, [(20.621,-4.5),(21.061,-4.457),(21.495,-4.37),(21.918,-4.242),(22.326,-4.073),(22.716,-3.864),(23.084,-3.619),(23.426,-3.338),(23.738,-3.026),(24.019,-2.684),(24.264,-2.316),(24.473,-1.926),(24.642,-1.518),(24.77,-1.095),(24.857,-0.661),(24.9,-0.221),(24.9,0.221),(24.857,0.661),(24.77,1.095),(24.642,1.518),(24.473,1.926),(24.264,2.316),(24.019,2.684),(23.738,3.026),(23.426,3.338),(23.084,3.619),(22.716,3.864),(22.326,4.073),(21.918,4.242),(21.495,4.37),(21.061,4.457),(20.621,4.5),(20.179,4.5),(19.739,4.457),(19.305,4.37),(18.882,4.242),(18.474,4.073),(18.084,3.864),(17.716,3.619),(17.374,3.338),(17.062,3.026),(16.781,2.684),(16.536,2.316),(16.327,1.926),(16.158,1.518),(16.03,1.095),(15.943,0.661),(15.9,0.221),(15.9,-0.221),(15.943,-0.661),(16.03,-1.095),(16.158,-1.518),(16.327,-1.926),(16.536,-2.316),(16.781,-2.684),(17.062,-3.026),(17.374,-3.338),(17.716,-3.619),(18.084,-3.864),(18.474,-4.073),(18.882,-4.242),(19.305,-4.37),(19.739,-4.457),(20.179,-4.5)])
ebeam_gc_te1550.add(gdstk.FlexPath([(0.05,0),(-0.05,0)], 0.5, ends="flush", simple_path=True, layer=1, datatype=10))  # PinRec
ebeam_gc_te1550.add(gdstk.Label('opt1', (0,0), layer=1, texttype=10))
ebeam_gc_te1550.add(gdstk.Label('Component=ebeam_gc_te1550', (28,-5), layer=68, texttype=0))
ebeam_gc_te1550.add(gdstk.Label('Lumerical_INTERCONNECT_library=Design kits/ebeam', (29,-7), layer=68, texttype=0))
ebeam_gc_te1550.add(gdstk.Label('opt1', (0,0), layer=1, texttype=10))
ebeam_gc_te1550.add(gdstk.Label('Component=ebeam_gc_te1550', (28,-5), layer=68, texttype=0))
ebeam_gc_te1550.add(gdstk.Label('Lumerical_INTERCONNECT_library=Design kits/ebeam', (29,-7), layer=68, texttype=0))
ebeam_gc_te1550.add(gdstk.Label('Ref: Yun Wang, Optics Express, 08/2014', (33,0), layer=10, texttype=0))
ebeam_gc_te1550.add(gdstk.Label('http://dx.doi.org/10.1364/OE.22.020652', (33,-2), layer=10, texttype=0))
ebeam_gc_te1550.add(gdstk.Label('TE 1550 -31 deg', (33,2), layer=10, texttype=0))
ebeam_gc_te1550.add(gdstk.Label('Ref: Yun Wang, Optics Express, 08/2014', (33,0), layer=10, texttype=0))
ebeam_gc_te1550.add(gdstk.Label('http://dx.doi.org/10.1364/OE.22.020652', (33,-2), layer=10, texttype=0))
ebeam_gc_te1550.add(gdstk.Label('TE 1550 -31 deg', (33,2), layer=10, texttype=0))

lib.write_gds('ebeam_gc_te1550.gds')
